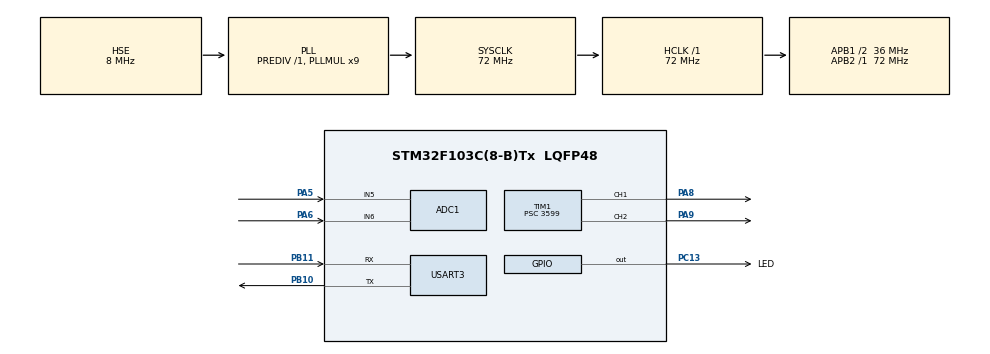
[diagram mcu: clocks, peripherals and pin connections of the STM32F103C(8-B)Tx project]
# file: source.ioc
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ADC1.Channel-11\#ChannelRegularConversion=ADC_CHANNEL_5
ADC1.Channel-12\#ChannelRegularConversion=ADC_CHANNEL_6
ADC1.ContinuousConvMode=ENABLE
ADC1.EnableInjectedConversion=DISABLE
ADC1.EnableRegularConversion=ENABLE
ADC1.ExternalTrigConv=ADC_SOFTWARE_START
ADC1.InjNumberOfConversion=1
ADC1.NbrOfConversion=2
ADC1.NbrOfConversionFlag=1
ADC1.Rank-11\#ChannelRegularConversion=1
ADC1.Rank-12\#ChannelRegularConversion=2
ADC1.SamplingTime-11\#ChannelRegularConversion=ADC_SAMPLETIME_1CYCLE_5
ADC1.SamplingTime-12\#ChannelRegularConversion=ADC_SAMPLETIME_1CYCLE_5
ADC1.master=1
Dma.ADC1.0.Direction=DMA_PERIPH_TO_MEMORY
Dma.ADC1.0.Instance=DMA1_Channel1
Dma.ADC1.0.MemDataAlignment=DMA_MDATAALIGN_HALFWORD
Dma.ADC1.0.MemInc=DMA_MINC_ENABLE
Dma.ADC1.0.Mode=DMA_CIRCULAR
Dma.ADC1.0.PeriphDataAlignment=DMA_PDATAALIGN_HALFWORD
Dma.ADC1.0.PeriphInc=DMA_PINC_DISABLE
Dma.ADC1.0.Priority=DMA_PRIORITY_LOW
Dma.Request0=ADC1
Mcu.Family=STM32F1
Mcu.Name=STM32F103C(8-B)Tx
Mcu.Package=LQFP48
NVIC.DMA1_Channel1_IRQn=true\:0\:0\:false\:false\:true\:false\:true
NVIC.PriorityGroup=NVIC_PRIORITYGROUP_4
NVIC.TIM1_UP_IRQn=true\:0\:0\:false\:false\:true\:true\:true
NVIC.USART3_IRQn=true\:0\:0\:false\:false\:true\:true\:true
PA13.Mode=Trace_Asynchronous_SW
PA13.Signal=SYS_JTMS-SWDIO
PA14.Mode=Trace_Asynchronous_SW
PA14.Signal=SYS_JTCK-SWCLK
PA5.Signal=ADCx_IN5
PA6.Signal=ADCx_IN6
PA8.Signal=S_TIM1_CH1
PA9.Signal=S_TIM1_CH2
PB10.Mode=Asynchronous
PB10.Signal=USART3_TX
PB11.Mode=Asynchronous
PB11.Signal=USART3_RX
PB3.Mode=Trace_Asynchronous_SW
PB3.Signal=SYS_JTDO-TRACESWO
PC13-TAMPER-RTC.GPIO_Label=LED
PC13-TAMPER-RTC.Signal=GPIO_Output
PC14-OSC32_IN.Mode=LSE-External-Oscillator
PC14-OSC32_IN.Signal=RCC_OSC32_IN
PC15-OSC32_OUT.Mode=LSE-External-Oscillator
PC15-OSC32_OUT.Signal=RCC_OSC32_OUT
PD0-OSC_IN.Mode=HSE-External-Oscillator
PD0-OSC_IN.Signal=RCC_OSC_IN
PD1-OSC_OUT.Mode=HSE-External-Oscillator
PD1-OSC_OUT.Signal=RCC_OSC_OUT
ProjectManager.HeapSize=0x200
ProjectManager.StackSize=0x400
ProjectManager.TargetToolchain=STM32CubeIDE
RCC.ADCPresc=RCC_ADCPCLK2_DIV6
RCC.AHBFreq_Value=72000000
RCC.APB1CLKDivider=RCC_HCLK_DIV2
RCC.APB1Freq_Value=36000000
RCC.APB1TimFreq_Value=72000000
RCC.APB2Freq_Value=72000000
RCC.APB2TimFreq_Value=72000000
RCC.HCLKFreq_Value=72000000
RCC.PLLMUL=RCC_PLL_MUL9
RCC.PLLSourceVirtual=RCC_PLLSOURCE_HSE
RCC.SYSCLKFreq_VALUE=72000000
RCC.SYSCLKSource=RCC_SYSCLKSOURCE_PLLCLK
RCC.USBFreq_Value=72000000
SH.ADCx_IN5.0=ADC1_IN5,IN5
SH.ADCx_IN6.0=ADC1_IN6,IN6
SH.S_TIM1_CH1.0=TIM1_CH1,PWM Generation1 CH1
SH.S_TIM1_CH2.0=TIM1_CH2,PWM Generation2 CH2
TIM1.AutoReloadPreload=TIM_AUTORELOAD_PRELOAD_ENABLE
TIM1.Channel-PWM\ Generation1\ CH1=TIM_CHANNEL_1
TIM1.Channel-PWM\ Generation2\ CH2=TIM_CHANNEL_2
TIM1.CounterMode=TIM_COUNTERMODE_CENTERALIGNED1
TIM1.Period=99
TIM1.Prescaler=3599
TIM1.Pulse-PWM\ Generation1\ CH1=38
TIM1.Pulse-PWM\ Generation2\ CH2=58
TIM1.RepetitionCounter=1
TIM1.TIM_MasterOutputTrigger=TIM_TRGO_RESET
USART3.VirtualMode=VM_ASYNC
VP_TIM1_VS_ClockSourceINT.Mode=Internal
board=custom

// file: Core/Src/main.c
/* USER CODE BEGIN Header */
/**
  ******************************************************************************
  * @file           : main.c
  * @brief          : Main program body
  ******************************************************************************
  * @attention
  *
  * <h2><center>&copy; Copyright (c) 2024 STMicroelectronics.
  * All rights reserved.</center></h2>
  *
  * This software component is licensed by ST under BSD 3-Clause license,
  * the "License"; You may not use this file except in compliance with the
  * License. You may obtain a copy of the License at:
  *                        opensource.org/licenses/BSD-3-Clause
  *
  ******************************************************************************
  */
/* USER CODE END Header */
#include "main.h"
#include "adc.h"
#include "dma.h"
#include "tim.h"
#include "usart.h"
#include "gpio.h"

/* USER CODE BEGIN Includes */
#include "stdio.h"
/* USER CODE END Includes */

/* USER CODE BEGIN PTD */
uint16_t adc1_val_buf[2]; // 2 channel ADC value
/* USER CODE END PTD */

void SystemClock_Config(void);

/* USER CODE BEGIN 0 */
#ifdef __GNUC__

#define PUTCHAR_PROTOTYPE int __io_putchar(int ch)

PUTCHAR_PROTOTYPE
{
    HAL_UART_Transmit(&huart3, (uint8_t*)&ch, 1, HAL_MAX_DELAY);
    return ch;
}
#endif
/* USER CODE END 0 */

int main(void)
{

  /* MCU Configuration--------------------------------------------------------*/

  /* Reset of all peripherals, Initializes the Flash interface and the Systick. */
  HAL_Init();

  /* Configure the system clock */
  SystemClock_Config();

  /* Initialize all configured peripherals */
  MX_GPIO_Init();
  MX_DMA_Init();
  MX_TIM1_Init();
  MX_ADC1_Init();
  MX_USART3_UART_Init();
  /* USER CODE BEGIN 2 */
    HAL_TIM_Base_Start_IT(&htim1);
    HAL_TIM_PWM_Start(&htim1, TIM_CHANNEL_1);
    HAL_TIM_PWM_Start(&htim1, TIM_CHANNEL_2);
    HAL_ADC_Start(&hadc1);
    if(HAL_ADC_Start_DMA(&hadc1, (uint32_t*)&adc1_val_buf, 2) != HAL_OK)
    {
        /* Start Conversation Error */
        Error_Handler();
    }
  /* USER CODE END 2 */

  /* Infinite loop */
  while (1)
  {

  }
}

void SystemClock_Config(void)
{
  RCC_OscInitTypeDef RCC_OscInitStruct = {0};
  RCC_ClkInitTypeDef RCC_ClkInitStruct = {0};
  RCC_PeriphCLKInitTypeDef PeriphClkInit = {0};

  /** Initializes the RCC Oscillators according to the specified parameters
  * in the RCC_OscInitTypeDef structure.
  */
  RCC_OscInitStruct.OscillatorType = RCC_OSCILLATORTYPE_HSE;
  RCC_OscInitStruct.HSEState = RCC_HSE_ON;
  RCC_OscInitStruct.HSEPredivValue = RCC_HSE_PREDIV_DIV1;
  RCC_OscInitStruct.HSIState = RCC_HSI_ON;
  RCC_OscInitStruct.PLL.PLLState = RCC_PLL_ON;
  RCC_OscInitStruct.PLL.PLLSource = RCC_PLLSOURCE_HSE;
  RCC_OscInitStruct.PLL.PLLMUL = RCC_PLL_MUL9;
  if (HAL_RCC_OscConfig(&RCC_OscInitStruct) != HAL_OK)
  {
    Error_Handler();
  }
  /** Initializes the CPU, AHB and APB buses clocks
  */
  RCC_ClkInitStruct.ClockType = RCC_CLOCKTYPE_HCLK|RCC_CLOCKTYPE_SYSCLK
                              |RCC_CLOCKTYPE_PCLK1|RCC_CLOCKTYPE_PCLK2;
  RCC_ClkInitStruct.SYSCLKSource = RCC_SYSCLKSOURCE_PLLCLK;
  RCC_ClkInitStruct.AHBCLKDivider = RCC_SYSCLK_DIV1;
  RCC_ClkInitStruct.APB1CLKDivider = RCC_HCLK_DIV2;
  RCC_ClkInitStruct.APB2CLKDivider = RCC_HCLK_DIV1;

  if (HAL_RCC_ClockConfig(&RCC_ClkInitStruct, FLASH_LATENCY_2) != HAL_OK)
  {
    Error_Handler();
  }
  PeriphClkInit.PeriphClockSelection = RCC_PERIPHCLK_ADC;
  PeriphClkInit.AdcClockSelection = RCC_ADCPCLK2_DIV6;
  if (HAL_RCCEx_PeriphCLKConfig(&PeriphClkInit) != HAL_OK)
  {
    Error_Handler();
  }
}

/* USER CODE BEGIN 4 */
void HAL_TIM_PeriodElapsedCallback(TIM_HandleTypeDef *htim)
{
    if(htim->Instance==TIM1)

    {
        printf("%d %d\n",adc1_val_buf[0],adc1_val_buf[1]);
        if(HAL_GPIO_ReadPin(LED_GPIO_Port,LED_Pin))
        {
            HAL_GPIO_WritePin(LED_GPIO_Port,LED_Pin,0);
        }
        else
        {
            HAL_GPIO_WritePin(LED_GPIO_Port,LED_Pin,1);
        }
    }
}
/* USER CODE END 4 */

void Error_Handler(void)
{
  __disable_irq();
  while (1)
  {
  }
}

/************************ (C) COPYRIGHT STMicroelectronics *****END OF FILE****/
